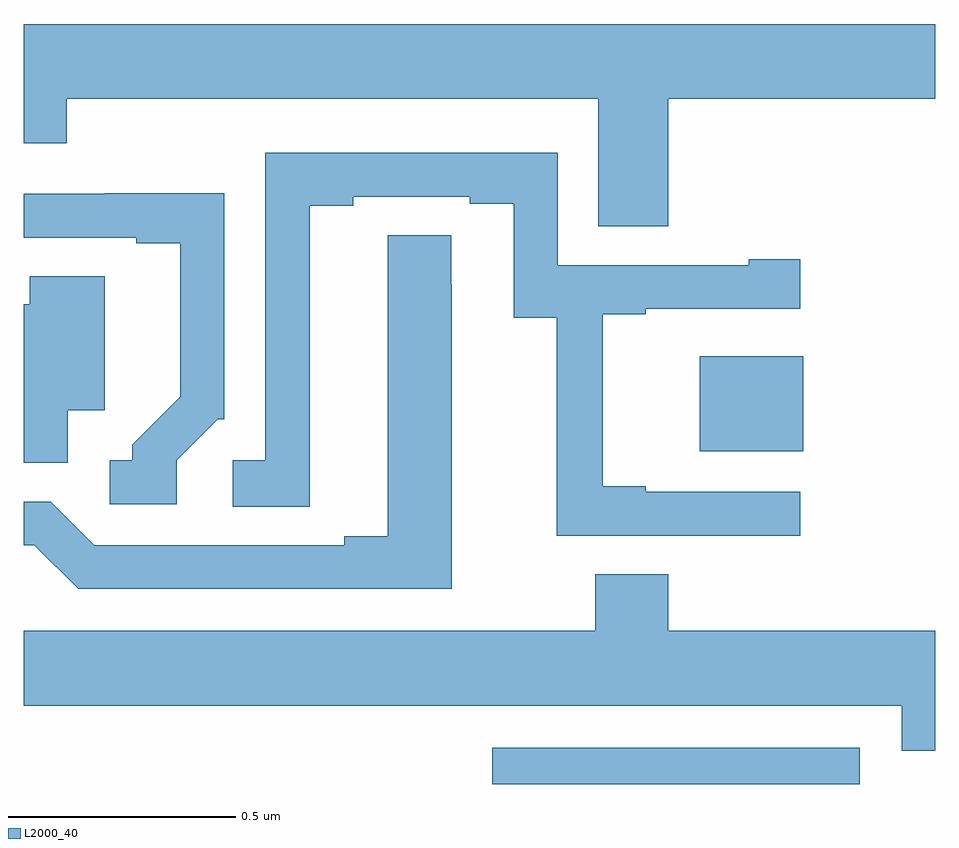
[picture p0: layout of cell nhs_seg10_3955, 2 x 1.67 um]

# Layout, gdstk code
import gdstk
lib = gdstk.Library(unit=1e-6, precision=1e-09)
def R(c, l, rs):  # rectangles x0, y0, x1, y1
    for r in rs: c.add(gdstk.rectangle(r[:2], r[2:], *l))
def P(c, l, *ps):  # polygons
    for p in ps: c.add(gdstk.Polygon(p, *l))
L2000_40 = (2000, 40)

nhs_seg10_3955 = lib.new_cell('nhs_seg10_3955')
R(nhs_seg10_3955, L2000_40, [(161.028,1277.5,161.835,1277.58), (161.483,1278.23,161.71,1278.439)])
P(nhs_seg10_3955, L2000_40, [(160,1278.906),(160.094,1278.906),(160.094,1279.004),(161.261,1279.004),(161.261,1278.724),(161.414,1278.724),(161.414,1279.004),(162,1279.004),(162,1279.168),(160,1279.168)],
  [(161.704,1278.141),(161.365,1278.141),(161.365,1278.154),(161.27,1278.154),(161.27,1278.531),(161.365,1278.531),(161.365,1278.543),(161.704,1278.543),(161.704,1278.652),(161.591,1278.652),(161.591,1278.639),(161.172,1278.639),(161.172,1278.885),(160.53,1278.885),(160.53,1278.21),(160.458,1278.21),(160.458,1278.109),(160.627,1278.109),(160.627,1278.769),(160.723,1278.769),(160.723,1278.789),(160.979,1278.789),(160.979,1278.774),(161.075,1278.774),(161.075,1278.523),(161.17,1278.523),(161.17,1278.045),(161.704,1278.045)],
  [(160.335,1278.21),(160.425,1278.3),(160.44,1278.3),(160.44,1278.797),(160.177,1278.797),(160.177,1278.795),(160,1278.795),(160,1278.699),(160.247,1278.699),(160.247,1278.687),(160.343,1278.687),(160.343,1278.35),(160.238,1278.245),(160.238,1278.21),(160.188,1278.21),(160.188,1278.114),(160.335,1278.114)],
  [(160.939,1278.596),(160.938,1278.596),(160.938,1278.704),(160.799,1278.704),(160.799,1278.044),(160.703,1278.044),(160.703,1278.024),(160.155,1278.024),(160.059,1278.12),(160,1278.12),(160,1278.024),(160.023,1278.024),(160.119,1277.928),(160.939,1277.928)],
  [(160.096,1278.32),(160.177,1278.32),(160.177,1278.614),(160.013,1278.614),(160.013,1278.553),(160,1278.553),(160,1278.205),(160.096,1278.205)],
  [(162,1277.836),(161.414,1277.836),(161.414,1277.96),(161.254,1277.96),(161.254,1277.836),(160,1277.836),(160,1277.672),(161.927,1277.672),(161.927,1277.573),(162,1277.573)])

lib.write_gds('nhs_seg10_3955.gds')
